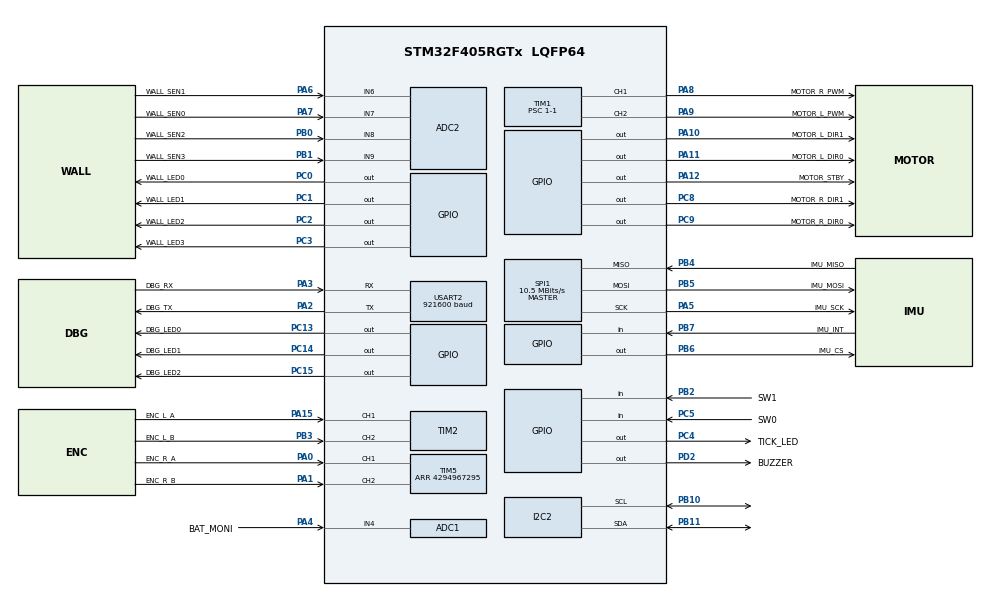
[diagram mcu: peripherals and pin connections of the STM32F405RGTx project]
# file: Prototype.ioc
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FREERTOS.Queues01=DebugQueue,500,DebugMsg_t,0,Static,DebugQueueBuffer,DebugQueueControlBlock;OdometoryPosQueue,10,OdometoryMsg_t,0,Static,OdometoryPosQueueBuffer,OdometoryPosQueueControlBlock;OdometoryVelQueue,10,OdometoryMsg_t,0,Static,OdometoryVelQueueBuffer,OdometoryVelQueueControlBlock;PosCmdQueue,10,PosControlCmdMsg_t,0,Static,PosCmdQueueBuffer,PosCmdQueueControlBlock;VelCmdQueue,10,VelControlCmdMsg_t,0,Static,VelCmdQueueBuffer,VelCmdQueueControlBlock
SPI1.VirtualType=VM_MASTER
PB10.Mode=I2C
PB6.GPIO_Label=IMU_CS
PA6.GPIO_Label=WALL_SEN1
PC15-OSC32_OUT.GPIO_Label=DBG_LED2
RCC.SYSCLKSource=RCC_SYSCLKSOURCE_PLLCLK
NVIC.TIM5_IRQn=true\:5\:0\:true\:false\:true\:true\:true\:true
SPI1.Direction=SPI_DIRECTION_2LINES
RCC.APB2TimFreq_Value=168000000
Dma.ADC1.0.Direction=DMA_PERIPH_TO_MEMORY
PB6.Signal=GPIO_Output
ADC1.InjNumberOfConversion=0
SPI1.CalculateBaudRate=10.5 MBits/s
PC3.Signal=GPIO_Output
ADC2.EOCSelection=ADC_EOC_SEQ_CONV
Dma.ADC1.0.MemDataAlignment=DMA_MDATAALIGN_HALFWORD
PB2.Signal=GPIO_Input
PC13-ANTI_TAMP.Signal=GPIO_Output
Dma.ADC2.1.Instance=DMA2_Stream2
PC4.GPIO_Label=TICK_LED
TIM1.Channel-PWM\ Generation1\ CH1=TIM_CHANNEL_1
TIM1.OC2Preload_PWM=ENABLE
PB1.GPIO_Label=WALL_SEN3
Dma.ADC1.0.PeriphInc=DMA_PINC_DISABLE
NVIC.TIM2_IRQn=true\:5\:0\:true\:false\:true\:true\:true\:true
SH.ADCx_IN8.0=ADC2_IN8,IN8
PA8.Signal=S_TIM1_CH1
PB2.GPIO_PuPd=GPIO_PULLUP
VP_TIM1_VS_ClockSourceINT.Mode=Internal
ADC1.SamplingTime-0\#ChannelRegularConversion=ADC_SAMPLETIME_480CYCLES
Mcu.Package=LQFP64
PB1.Signal=ADCx_IN9
NVIC.TimeBase=TIM8_UP_TIM13_IRQn
STMicroelectronics.X-CUBE-ALGOBUILD.1.2.0.LibraryCcDSPOoLibraryJjDSPOoLibrary=true
NVIC.TimeBaseIP=TIM13
PA10.Signal=GPIO_Output
SH.ADCx_IN9.0=ADC2_IN9,IN9
RCC.APB2CLKDivider=RCC_HCLK_DIV2
NVIC.DMA2_Stream2_IRQn=true\:5\:0\:false\:false\:true\:true\:false\:true
RCC.APB1TimFreq_Value=84000000
ADC2.Channel-12\#ChannelRegularConversion=ADC_CHANNEL_9
Dma.ADC1.0.FIFOMode=DMA_FIFOMODE_DISABLE
TIM1.Period=1680-1
PA4.GPIO_Label=BAT_MONI
ADC1.EOCSelection=ADC_EOC_SEQ_CONV
Dma.ADC2.1.PeriphDataAlignment=DMA_PDATAALIGN_HALFWORD
ADC2.ScanConvMode=ENABLE
ADC2.Channel-10\#ChannelRegularConversion=ADC_CHANNEL_6
PA5.Mode=Full_Duplex_Master
Dma.ADC1.0.Instance=DMA2_Stream0
FREERTOS.Tasks01=MainTask,33,2048,MainTaskLoop,Default,NULL,Static,MainTaskBuffer,MainTaskControlBlock;DebugTask,24,1024,DebugTaskLoop,Default,NULL,Static,DebugTaskBuffer,DebugTaskControlBlock;WallDetectTask,32,512,WallDetectTaskLoop,Default,NULL,Static,WallDetectTaskBuffer,WallDetectTaskControlBlock;VelControlTask,48,512,VelControlTaskLoop,Default,NULL,Static,VelControlTaskBuffer,VelControlTaskControlBlock;TrajControlTask,40,512,TrajControlTaskLoop,Default,NULL,Static,TrajControlTaskBuffer,TrajControlTaskControlBlock
ADC1.Rank-0\#ChannelRegularConversion=1
TIM3.AutoReloadPreload=TIM_AUTORELOAD_PRELOAD_DISABLE
SH.ADCx_IN6.0=ADC2_IN6,IN6
PC13-ANTI_TAMP.GPIO_Label=DBG_LED0
PA9.GPIO_Label=MOTOR_L_PWM
ADC2.SamplingTime-10\#ChannelRegularConversion=ADC_SAMPLETIME_28CYCLES
PC2.Signal=GPIO_Output
PA11.GPIO_Label=MOTOR_L_DIR0
PC0.Signal=GPIO_Output
RCC.APB1CLKDivider=RCC_HCLK_DIV4
PC14-OSC32_IN.Signal=GPIO_Output
USART2.BaudRate=921600
PA0-WKUP.GPIO_Label=ENC_R_A
PA0-WKUP.Signal=S_TIM5_CH1
PA3.Mode=Asynchronous
TIM1.AutoReloadPreload=TIM_AUTORELOAD_PRELOAD_ENABLE
TIM5.TIM_MasterOutputTrigger=TIM_TRGO_UPDATE
PA8.GPIO_Label=MOTOR_R_PWM
PB11.Mode=I2C
ADC2.Rank-11\#ChannelRegularConversion=3
SH.ADCx_IN7.0=ADC2_IN7,IN7
Dma.ADC1.0.Priority=DMA_PRIORITY_MEDIUM
PA9.Signal=S_TIM1_CH2
TIM1.Channel-PWM\ Generation2\ CH2=TIM_CHANNEL_2
PB10.Signal=I2C2_SCL
PA5.Signal=SPI1_SCK
Dma.ADC2.1.FIFOMode=DMA_FIFOMODE_DISABLE
NVIC.TIM3_IRQn=true\:6\:0\:true\:false\:true\:true\:true\:true
PB4.GPIO_Label=IMU_MISO
SPI1.Mode=SPI_MODE_MASTER
PA1.GPIO_Label=ENC_R_B
SH.ADCx_IN4.0=ADC1_IN4,IN4
ADC1.DMAContinuousRequests=ENABLE
Dma.ADC2.1.MemInc=DMA_MINC_ENABLE
PA13.Mode=Serial_Wire
PA4.Signal=ADCx_IN4
PB5.Signal=SPI1_MOSI
Dma.ADC2.1.Direction=DMA_PERIPH_TO_MEMORY
ADC1.master=1
PA5.GPIO_Label=IMU_SCK
ADC2.NbrOfConversionFlag=1
PA11.Signal=GPIO_Output
SH.S_TIM2_CH1_ETR.0=TIM2_CH1,Encoder_Interface
ProjectManager.HeapSize=0x200
NVIC.TIM8_UP_TIM13_IRQn=true\:0\:0\:false\:false\:true\:false\:false\:true
FREERTOS.Mutexes01=OdometoryCalibMutex,Static,OdometoryCalibMutexControlBlock;ResetPosMutex,Static,ResetPosMutexControlBlock
NVIC.PriorityGroup=NVIC_PRIORITYGROUP_4
ADC2.Channel-11\#ChannelRegularConversion=ADC_CHANNEL_8
PC3.GPIO_Label=WALL_LED3
PD2.Signal=GPIO_Output
PB0.Signal=ADCx_IN8
PC1.Signal=GPIO_Output
PD2.GPIO_Label=BUZZER
Mcu.Family=STM32F4
ADC2.ExternalTrigConv=ADC_EXTERNALTRIGCONV_T3_TRGO
RCC.CortexFreq_Value=168000000
ADC2.Rank-10\#ChannelRegularConversion=2
ADC1.ContinuousConvMode=ENABLE
ADC2.Channel-0\#ChannelRegularConversion=ADC_CHANNEL_7
TIM5.EncoderMode=TIM_ENCODERMODE_TI12
SH.S_TIM5_CH2.0=TIM5_CH2,Encoder_Interface
PC0.GPIO_Label=WALL_LED0
PB0.GPIO_Label=WALL_SEN2
TIM2.EncoderMode=TIM_ENCODERMODE_TI12
PB11.Signal=I2C2_SDA
ProjectManager.StackSize=0x400
VP_FREERTOS_VS_CMSIS_V2.Mode=CMSIS_V2
TIM1.OC1Preload_PWM=ENABLE
PA15.GPIO_Label=ENC_L_A
PA12.Signal=GPIO_Output
TIM1.Prescaler=1-1
ADC2.DMAContinuousRequests=ENABLE
RCC.HCLKFreq_Value=168000000
TIM3.Period=1680-1
FREERTOS.configUSE_MALLOC_FAILED_HOOK=0
NVIC.DMA2_Stream0_IRQn=true\:6\:0\:true\:false\:true\:true\:false\:true
RCC.AHBFreq_Value=168000000
ADC1.Channel-0\#ChannelRegularConversion=ADC_CHANNEL_4
RCC.HSE_VALUE=25000000
PB4.Mode=Full_Duplex_Master
PA14.Mode=Serial_Wire
TIM3.Prescaler=100-1
PB5.Mode=Full_Duplex_Master
PA10.GPIO_Label=MOTOR_L_DIR1
PB7.Signal=GPIO_Input
Dma.ADC2.1.PeriphInc=DMA_PINC_DISABLE
PB7.GPIO_Label=IMU_INT
ADC2.SamplingTime-12\#ChannelRegularConversion=ADC_SAMPLETIME_28CYCLES
PA6.Signal=ADCx_IN6
USART2.VirtualMode=VM_ASYNC
PA2.GPIO_Label=DBG_TX
PA15.Signal=S_TIM2_CH1_ETR
ADC2.SamplingTime-0\#ChannelRegularConversion=ADC_SAMPLETIME_28CYCLES
TIM2.TIM_MasterOutputTrigger=TIM_TRGO_UPDATE
PB5.GPIO_Label=IMU_MOSI
ADC2.NbrOfConversion=4
Dma.Request1=ADC2
SH.S_TIM5_CH1.0=TIM5_CH1,Encoder_Interface
PC14-OSC32_IN.GPIO_Label=DBG_LED1
PC5.Signal=GPIO_Input
ADC2.Rank-0\#ChannelRegularConversion=1
VP_STMicroelectronics.X-CUBE-ALGOBUILD_VS_DSPOoLibraryJjLibrary_1.2.0_1.2.0.Mode=DSPOoLibraryJjLibrary
FREERTOS.configMAX_TASK_NAME_LEN=16
Dma.Request0=ADC1
SPI1.BaudRatePrescaler=SPI_BAUDRATEPRESCALER_8
PC2.GPIO_Label=WALL_LED2
VP_TIM3_VS_ClockSourceINT.Mode=Internal
PB4.Signal=SPI1_MISO
PA3.Signal=USART2_RX
PB3.GPIO_Label=ENC_L_B
ADC2.ClockPrescaler=ADC_CLOCK_SYNC_PCLK_DIV4
PC9.GPIO_Label=MOTOR_R_DIR0
PC8.Signal=GPIO_Output
PC4.Signal=GPIO_Output
PC5.GPIO_PuPd=GPIO_PULLUP
PA12.GPIO_Label=MOTOR_STBY
PC8.GPIO_Label=MOTOR_R_DIR1
PA13.Signal=SYS_JTMS-SWDIO
SH.S_TIM2_CH2.0=TIM2_CH2,Encoder_Interface
Dma.ADC1.0.PeriphDataAlignment=DMA_PDATAALIGN_HALFWORD
SH.S_TIM1_CH1.0=TIM1_CH1,PWM Generation1 CH1
ProjectManager.TargetToolchain=STM32CubeIDE
Dma.ADC1.0.Mode=DMA_CIRCULAR
Dma.ADC2.1.Mode=DMA_CIRCULAR
RCC.LSE_VALUE=32768
PC15-OSC32_OUT.Signal=GPIO_Output
PA1.Signal=S_TIM5_CH2
board=custom
ADC2.Rank-12\#ChannelRegularConversion=4
RCC.VCOOutputFreq_Value=336000000
RCC.APB2Freq_Value=84000000
VP_SYS_VS_tim13.Mode=TIM13
SH.S_TIM1_CH2.0=TIM1_CH2,PWM Generation2 CH2
PC1.GPIO_Label=WALL_LED1
ADC1.NbrOfConversion=1
Mcu.Name=STM32F405RGTx
PA2.Signal=USART2_TX
RCC.48MHZClocksFreq_Value=84000000
PB3.Signal=S_TIM2_CH2
ADC2.SamplingTime-11\#ChannelRegularConversion=ADC_SAMPLETIME_28CYCLES
RCC.SYSCLKFreq_VALUE=168000000
PA7.GPIO_Label=WALL_SEN0
PC5.GPIO_Label=SW0
PA14.Signal=SYS_JTCK-SWCLK
Dma.ADC1.0.MemInc=DMA_MINC_ENABLE
PB2.GPIO_Label=SW1
RCC.HSI_VALUE=16000000
ADC2.ExternalTrigConvEdge=ADC_EXTERNALTRIGCONVEDGE_RISING
ADC1.NbrOfConversionFlag=1
Dma.ADC2.1.MemDataAlignment=DMA_MDATAALIGN_HALFWORD
RCC.PLLM=8
RCC.PLLN=168
PA2.Mode=Asynchronous
Dma.ADC2.1.Priority=DMA_PRIORITY_LOW
TIM5.Period=4294967295
PC9.Signal=GPIO_Output
TIM3.TIM_MasterOutputTrigger=TIM_TRGO_UPDATE
ADC1.DataAlign=ADC_DATAALIGN_RIGHT
RCC.APB1Freq_Value=42000000
ADC1.ClockPrescaler=ADC_CLOCK_SYNC_PCLK_DIV4
ADC2.InjNumberOfConversion=0
PA3.GPIO_Label=DBG_RX
PA7.Signal=ADCx_IN7

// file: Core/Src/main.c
/* USER CODE BEGIN Header */
/**
	******************************************************************************
	* @file           : main.c
	* @brief          : Main program body
	******************************************************************************
	* @attention
	*
	* <h2><center>&copy; Copyright (c) 2021 STMicroelectronics.
	* All rights reserved.</center></h2>
	*
	* This software component is licensed by ST under Ultimate Liberty license
	* SLA0044, the "License"; You may not use this file except in compliance with
	* the License. You may obtain a copy of the License at:
	*                             www.st.com/SLA0044
	*
	******************************************************************************
	*/
/* USER CODE END Header */
#include "main.h"
#include "cmsis_os.h"
#include "adc.h"
#include "dma.h"
#include "i2c.h"
#include "spi.h"
#include "tim.h"
#include "usart.h"
#include "gpio.h"

void SystemClock_Config(void);
void MX_FREERTOS_Init(void);

int main(void)
{

  /* MCU Configuration--------------------------------------------------------*/

  /* Reset of all peripherals, Initializes the Flash interface and the Systick. */
  HAL_Init();

  /* Configure the system clock */
  SystemClock_Config();

  /* Initialize all configured peripherals */
  MX_GPIO_Init();
  MX_DMA_Init();
  MX_ADC1_Init();
  MX_I2C2_Init();
  MX_SPI1_Init();
  MX_TIM1_Init();
  MX_TIM2_Init();
  MX_TIM5_Init();
  MX_USART2_UART_Init();
  MX_ADC2_Init();
  MX_TIM3_Init();

  /* Init scheduler */
  osKernelInitialize();  /* Call init function for freertos objects (in freertos.c) */
  MX_FREERTOS_Init();
  /* Start scheduler */
  osKernelStart();

  /* We should never get here as control is now taken by the scheduler */
  /* Infinite loop */
	while (1)
	{

	}
}

void SystemClock_Config(void)
{
  LL_FLASH_SetLatency(LL_FLASH_LATENCY_4);
  while(LL_FLASH_GetLatency()!= LL_FLASH_LATENCY_4)
  {
  }
  LL_PWR_SetRegulVoltageScaling(LL_PWR_REGU_VOLTAGE_SCALE1);
  LL_RCC_HSI_SetCalibTrimming(16);
  LL_RCC_HSI_Enable();

   /* Wait till HSI is ready */
  while(LL_RCC_HSI_IsReady() != 1)
  {

  }
  LL_RCC_PLL_ConfigDomain_SYS(LL_RCC_PLLSOURCE_HSI, LL_RCC_PLLM_DIV_8, 128, LL_RCC_PLLP_DIV_2);
  LL_RCC_PLL_Enable();

   /* Wait till PLL is ready */
  while(LL_RCC_PLL_IsReady() != 1)
  {

  }
  LL_RCC_SetAHBPrescaler(LL_RCC_SYSCLK_DIV_1);
  LL_RCC_SetAPB1Prescaler(LL_RCC_APB1_DIV_4);
  LL_RCC_SetAPB2Prescaler(LL_RCC_APB2_DIV_2);
  LL_RCC_SetSysClkSource(LL_RCC_SYS_CLKSOURCE_PLL);

   /* Wait till System clock is ready */
  while(LL_RCC_GetSysClkSource() != LL_RCC_SYS_CLKSOURCE_STATUS_PLL)
  {

  }
  LL_SetSystemCoreClock(128000000);

   /* Update the time base */
  if (HAL_InitTick (TICK_INT_PRIORITY) != HAL_OK)
  {
    Error_Handler();
  }
}

 /**
  * @brief  Period elapsed callback in non blocking mode
  * @note   This function is called  when TIM13 interrupt took place, inside
  * HAL_TIM_IRQHandler(). It makes a direct call to HAL_IncTick() to increment
  * a global variable "uwTick" used as application time base.
  * @param  htim : TIM handle
  * @retval None
  */
void HAL_TIM_PeriodElapsedCallback(TIM_HandleTypeDef *htim)
{
  if (htim->Instance == TIM13) {
    HAL_IncTick();
  }
}

void Error_Handler(void)
{
	__disable_irq();
	while (1)
	{
	}
}

/************************ (C) COPYRIGHT STMicroelectronics *****END OF FILE****/

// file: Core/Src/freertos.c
/* USER CODE BEGIN Header */
/**
  ******************************************************************************
  * File Name          : freertos.c
  * Description        : Code for freertos applications
  ******************************************************************************
  * @attention
  *
  * <h2><center>&copy; Copyright (c) 2021 STMicroelectronics.
  * All rights reserved.</center></h2>
  *
  * This software component is licensed by ST under Ultimate Liberty license
  * SLA0044, the "License"; You may not use this file except in compliance with
  * the License. You may obtain a copy of the License at:
  *                             www.st.com/SLA0044
  *
  ******************************************************************************
  */
/* USER CODE END Header */

#include "FreeRTOS.h"
#include "task.h"
#include "main.h"
#include "cmsis_os.h"

/* USER CODE BEGIN Includes */
#include "SystickTimer.h"
#include "TaskList.h"
#include "DebugTask.h"
#include "arm_math.h"
#include "MessageQueueType.h"
#include <stdbool.h>
/* USER CODE END Includes */

typedef StaticTask_t osStaticThreadDef_t;
typedef StaticQueue_t osStaticMessageQDef_t;
typedef StaticSemaphore_t osStaticMutexDef_t;

/* Definitions for MainTask */
osThreadId_t MainTaskHandle;
uint32_t MainTaskBuffer[ 2048 ];
osStaticThreadDef_t MainTaskControlBlock;
const osThreadAttr_t MainTask_attributes = {
  .name = "MainTask",
  .cb_mem = &MainTaskControlBlock,
  .cb_size = sizeof(MainTaskControlBlock),
  .stack_mem = &MainTaskBuffer[0],
  .stack_size = sizeof(MainTaskBuffer),
  .priority = (osPriority_t) osPriorityAboveNormal1,
};
/* Definitions for DebugTask */
osThreadId_t DebugTaskHandle;
uint32_t DebugTaskBuffer[ 1024 ];
osStaticThreadDef_t DebugTaskControlBlock;
const osThreadAttr_t DebugTask_attributes = {
  .name = "DebugTask",
  .cb_mem = &DebugTaskControlBlock,
  .cb_size = sizeof(DebugTaskControlBlock),
  .stack_mem = &DebugTaskBuffer[0],
  .stack_size = sizeof(DebugTaskBuffer),
  .priority = (osPriority_t) osPriorityNormal,
};
/* Definitions for WallDetectTask */
osThreadId_t WallDetectTaskHandle;
uint32_t WallDetectTaskBuffer[ 512 ];
osStaticThreadDef_t WallDetectTaskControlBlock;
const osThreadAttr_t WallDetectTask_attributes = {
  .name = "WallDetectTask",
  .cb_mem = &WallDetectTaskControlBlock,
  .cb_size = sizeof(WallDetectTaskControlBlock),
  .stack_mem = &WallDetectTaskBuffer[0],
  .stack_size = sizeof(WallDetectTaskBuffer),
  .priority = (osPriority_t) osPriorityAboveNormal,
};
/* Definitions for VelControlTask */
osThreadId_t VelControlTaskHandle;
uint32_t VelControlTaskBuffer[ 512 ];
osStaticThreadDef_t VelControlTaskControlBlock;
const osThreadAttr_t VelControlTask_attributes = {
  .name = "VelControlTask",
  .cb_mem = &VelControlTaskControlBlock,
  .cb_size = sizeof(VelControlTaskControlBlock),
  .stack_mem = &VelControlTaskBuffer[0],
  .stack_size = sizeof(VelControlTaskBuffer),
  .priority = (osPriority_t) osPriorityRealtime,
};
/* Definitions for TrajControlTask */
osThreadId_t TrajControlTaskHandle;
uint32_t TrajControlTaskBuffer[ 512 ];
osStaticThreadDef_t TrajControlTaskControlBlock;
const osThreadAttr_t TrajControlTask_attributes = {
  .name = "TrajControlTask",
  .cb_mem = &TrajControlTaskControlBlock,
  .cb_size = sizeof(TrajControlTaskControlBlock),
  .stack_mem = &TrajControlTaskBuffer[0],
  .stack_size = sizeof(TrajControlTaskBuffer),
  .priority = (osPriority_t) osPriorityHigh,
};
/* Definitions for DebugQueue */
osMessageQueueId_t DebugQueueHandle;
uint8_t DebugQueueBuffer[ 500 * sizeof( DebugMsg_t ) ];
osStaticMessageQDef_t DebugQueueControlBlock;
const osMessageQueueAttr_t DebugQueue_attributes = {
  .name = "DebugQueue",
  .cb_mem = &DebugQueueControlBlock,
  .cb_size = sizeof(DebugQueueControlBlock),
  .mq_mem = &DebugQueueBuffer,
  .mq_size = sizeof(DebugQueueBuffer)
};
/* Definitions for OdometoryPosQueue */
osMessageQueueId_t OdometoryPosQueueHandle;
uint8_t OdometoryPosQueueBuffer[ 10 * sizeof( OdometoryMsg_t ) ];
osStaticMessageQDef_t OdometoryPosQueueControlBlock;
const osMessageQueueAttr_t OdometoryPosQueue_attributes = {
  .name = "OdometoryPosQueue",
  .cb_mem = &OdometoryPosQueueControlBlock,
  .cb_size = sizeof(OdometoryPosQueueControlBlock),
  .mq_mem = &OdometoryPosQueueBuffer,
  .mq_size = sizeof(OdometoryPosQueueBuffer)
};
/* Definitions for OdometoryVelQueue */
osMessageQueueId_t OdometoryVelQueueHandle;
uint8_t OdometoryVelQueueBuffer[ 10 * sizeof( OdometoryMsg_t ) ];
osStaticMessageQDef_t OdometoryVelQueueControlBlock;
const osMessageQueueAttr_t OdometoryVelQueue_attributes = {
  .name = "OdometoryVelQueue",
  .cb_mem = &OdometoryVelQueueControlBlock,
  .cb_size = sizeof(OdometoryVelQueueControlBlock),
  .mq_mem = &OdometoryVelQueueBuffer,
  .mq_size = sizeof(OdometoryVelQueueBuffer)
};
/* Definitions for PosCmdQueue */
osMessageQueueId_t PosCmdQueueHandle;
uint8_t PosCmdQueueBuffer[ 10 * sizeof( PosControlCmdMsg_t ) ];
osStaticMessageQDef_t PosCmdQueueControlBlock;
const osMessageQueueAttr_t PosCmdQueue_attributes = {
  .name = "PosCmdQueue",
  .cb_mem = &PosCmdQueueControlBlock,
  .cb_size = sizeof(PosCmdQueueControlBlock),
  .mq_mem = &PosCmdQueueBuffer,
  .mq_size = sizeof(PosCmdQueueBuffer)
};
/* Definitions for VelCmdQueue */
osMessageQueueId_t VelCmdQueueHandle;
uint8_t VelCmdQueueBuffer[ 10 * sizeof( VelControlCmdMsg_t ) ];
osStaticMessageQDef_t VelCmdQueueControlBlock;
const osMessageQueueAttr_t VelCmdQueue_attributes = {
  .name = "VelCmdQueue",
  .cb_mem = &VelCmdQueueControlBlock,
  .cb_size = sizeof(VelCmdQueueControlBlock),
  .mq_mem = &VelCmdQueueBuffer,
  .mq_size = sizeof(VelCmdQueueBuffer)
};
/* Definitions for OdometoryCalibMutex */
osMutexId_t OdometoryCalibMutexHandle;
osStaticMutexDef_t OdometoryCalibMutexControlBlock;
const osMutexAttr_t OdometoryCalibMutex_attributes = {
  .name = "OdometoryCalibMutex",
  .cb_mem = &OdometoryCalibMutexControlBlock,
  .cb_size = sizeof(OdometoryCalibMutexControlBlock),
};
/* Definitions for ResetPosMutex */
osMutexId_t ResetPosMutexHandle;
osStaticMutexDef_t ResetPosMutexControlBlock;
const osMutexAttr_t ResetPosMutex_attributes = {
  .name = "ResetPosMutex",
  .cb_mem = &ResetPosMutexControlBlock,
  .cb_size = sizeof(ResetPosMutexControlBlock),
};

void MainTaskLoop(void *argument);
void DebugTaskLoop(void *argument);
void WallDetectTaskLoop(void *argument);
void VelControlTaskLoop(void *argument);
void TrajControlTaskLoop(void *argument);

void MX_FREERTOS_Init(void); /* (MISRA C 2004 rule 8.1) */

void MX_FREERTOS_Init(void) {
  /* Create the mutex(es) */
  /* creation of OdometoryCalibMutex */
  OdometoryCalibMutexHandle = osMutexNew(&OdometoryCalibMutex_attributes);

  /* creation of ResetPosMutex */
  ResetPosMutexHandle = osMutexNew(&ResetPosMutex_attributes);

  /* Create the queue(s) */
  /* creation of DebugQueue */
  DebugQueueHandle = osMessageQueueNew (500, sizeof(DebugMsg_t), &DebugQueue_attributes);

  /* creation of OdometoryPosQueue */
  OdometoryPosQueueHandle = osMessageQueueNew (10, sizeof(OdometoryMsg_t), &OdometoryPosQueue_attributes);

  /* creation of OdometoryVelQueue */
  OdometoryVelQueueHandle = osMessageQueueNew (10, sizeof(OdometoryMsg_t), &OdometoryVelQueue_attributes);

  /* creation of PosCmdQueue */
  PosCmdQueueHandle = osMessageQueueNew (10, sizeof(PosControlCmdMsg_t), &PosCmdQueue_attributes);

  /* creation of VelCmdQueue */
  VelCmdQueueHandle = osMessageQueueNew (10, sizeof(VelControlCmdMsg_t), &VelCmdQueue_attributes);

  /* Create the thread(s) */
  /* creation of MainTask */
  MainTaskHandle = osThreadNew(MainTaskLoop, NULL, &MainTask_attributes);

  /* creation of DebugTask */
  DebugTaskHandle = osThreadNew(DebugTaskLoop, NULL, &DebugTask_attributes);

  /* creation of WallDetectTask */
  WallDetectTaskHandle = osThreadNew(WallDetectTaskLoop, NULL, &WallDetectTask_attributes);

  /* creation of VelControlTask */
  VelControlTaskHandle = osThreadNew(VelControlTaskLoop, NULL, &VelControlTask_attributes);

  /* creation of TrajControlTask */
  TrajControlTaskHandle = osThreadNew(TrajControlTaskLoop, NULL, &TrajControlTask_attributes);

  /* USER CODE BEGIN RTOS_EVENTS */
  /* add events, ... */
  SystickTimer_EnableInterrupt();
  bool bInitialize = true;

  DebugTask_OsFunc_t debugTask_OsFunc;
  debugTask_OsFunc.TxQueueId = DebugQueueHandle;
  bInitialize &= DebugTask_Initialize(&debugTask_OsFunc);

  MainTask_OsFunc_t mainTask_OsFunc;
  mainTask_OsFunc.PosCmdQueueId = PosCmdQueueHandle;
  bInitialize &= MainTask_Initialize(&mainTask_OsFunc);
  SystickTimer_DelayMS(50u);

  bInitialize &= WallDetectTask_Initialize(NULL);
  SystickTimer_DelayMS(50u);

  TrajControlTask_OsFunc_t trajControlTask_OsFunc;
  trajControlTask_OsFunc.OdometoryPosQueueId = OdometoryPosQueueHandle;
  trajControlTask_OsFunc.VelCmdQueueId = VelCmdQueueHandle;
  trajControlTask_OsFunc.ResetPosMutexId = ResetPosMutexHandle;
  bInitialize &= TrajControlTask_Initialize(&trajControlTask_OsFunc);
  SystickTimer_DelayMS(50u);

  VelControlTask_OsFunc_t velControlTask_OsFunc;
  velControlTask_OsFunc.OdometoryVelQueueId = OdometoryVelQueueHandle;
  velControlTask_OsFunc.OdometoryCalibMutexId = OdometoryCalibMutexHandle;
  bInitialize &= VelControlTask_Initialize(&velControlTask_OsFunc);
  SystickTimer_DelayMS(50u);

  DebugConsole_Printf("\nHello World!\n");
  DebugConsole_Printf("CalibMutex, %p\n", OdometoryCalibMutexHandle);
  DebugConsole_Printf("CalibMutex, %p\n", velControlTask_OsFunc.OdometoryCalibMutexId);
  DebugConsole_Printf("RTOS Tasks Initialized : %d\n", bInitialize);

  SystickTimer_DelayMS(3000u);
  /* USER CODE END RTOS_EVENTS */

}

void MainTaskLoop(void *argument)
{
  /* USER CODE BEGIN MainTaskLoop */
  /* Infinite loop */
  for(;;)
  {
    MainTask_Update();
  }
  /* USER CODE END MainTaskLoop */
}

void DebugTaskLoop(void *argument)
{
  /* USER CODE BEGIN DebugTaskLoop */
  /* Infinite loop */
  for(;;)
  {
	  DebugTask_Update();
	  //osDelay(100);
  }
  /* USER CODE END DebugTaskLoop */
}

void WallDetectTaskLoop(void *argument)
{
  /* USER CODE BEGIN WallDetectTaskLoop */
  /* Infinite loop */
  for(;;)
  {
    WallDetectTask_Update();
  }
  /* USER CODE END WallDetectTaskLoop */
}

void VelControlTaskLoop(void *argument)
{
  /* USER CODE BEGIN VelControlTaskLoop */
  /* Infinite loop */
  for(;;)
  {
    VelControlTask_Update();
  }
  /* USER CODE END VelControlTaskLoop */
}

void TrajControlTaskLoop(void *argument)
{
  /* USER CODE BEGIN TrajControlTaskLoop */
  /* Infinite loop */
  for(;;)
  {
    TrajControlTask_Update();
  }
  /* USER CODE END TrajControlTaskLoop */
}

/************************ (C) COPYRIGHT STMicroelectronics *****END OF FILE****/
